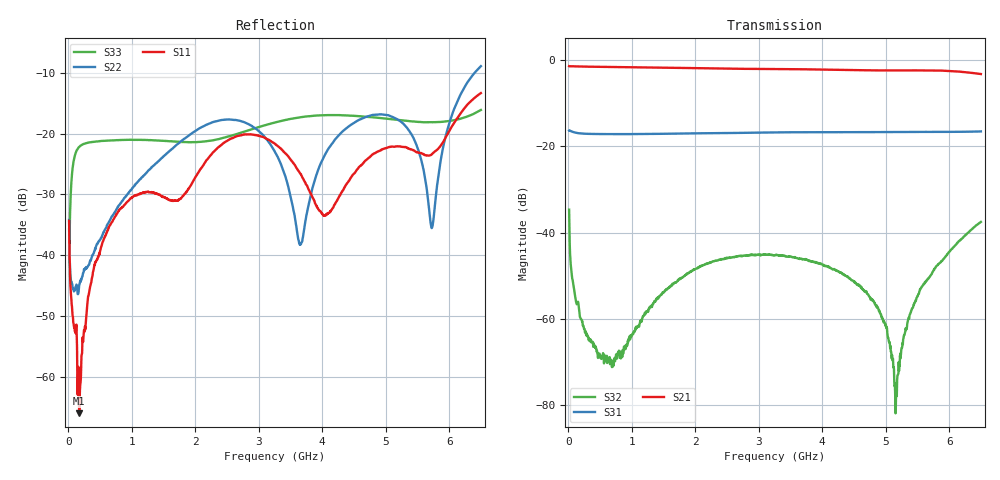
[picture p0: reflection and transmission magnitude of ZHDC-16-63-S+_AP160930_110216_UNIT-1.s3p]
!Mini-Circuits Laboratory
!S-Parameters
!MODEL: ZHDC-16-63-S+
!Run/Lot/Date Code:CE5190//1643
!DATA FOR:UNIT#1
!Fixture/SN/Due: N/A
!Connection:PORT-1 - pin<1>; PORT-2 - pin<2>; PORT-3- pin<3>
!Created: 11-02-2016 at 3:26 PM
# MHZ S DB R 50
!Frequency  S11 dB  S11 DEG  S12 dB  S12 DEG  S13 dB  S13 DEG
!  S21 dB  S21 DEG  S22 dB  S22 DEG  S23 dB  S23 DEG
!  S31 dB  S31 DEG  S32 dB  S32 DEG  S33 dB  S33 DEG
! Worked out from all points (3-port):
!   1299 points, 10 MHz to 6.5 GHz, reference 50 ohm
!   strongest paths, dB at 10 MHz, 1.63 GHz, 3.255 GHz, 4.88 GHz, 6.5 GHz:
!     S21: -1.4, -1.8, -2.1, -2.4, -3.3
!     S31: -16.4, -17.1, -16.8, -16.7, -16.6
!     S32: -34.7, -52.2, -45.3, -57.5, -37.5
!   lowest |S11| = -66.0 dB at 170 MHz (marker M1), VSWR 1.00, Z = 50 - j0.00945 ohm
!   |S11| at or under -10 dB: start of sweep to end of sweep
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10  -34.35 96.9  -1.44 -2.9  -16.36 5.3
    -1.44 -2.9  -34.21 98.1  -34.71 -85.3
    -16.36 5.3  -34.69 -86.2  -35.76 140.8
170  -66.02 -10.9  -1.52 -27.2  -17.00 -19.2
     -1.52 -27.2  -44.84 9.2  -58.23 -84.7
     -17.00 -19.2  -57.99 -92.4  -22.16 177.8
1065  -30.15 66.5  -1.69 -167.3  -17.18 -108.2
      -1.70 -167.3  -28.23 170.8  -61.35 120.1
      -17.18 -108.2  -62.27 77.3  -21.02 35.6
1720  -31.05 -97.6  -1.83 90.2  -17.07 -174.7
      -1.83 90.2  -21.72 100.1  -50.94 -52.7
      -17.07 -174.7  -51.10 -52.9  -21.33 -54.7
2370  -22.18 99.1  -1.99 -11.2  -16.95 118.6
      -1.99 -11.1  -17.87 25.7  -48.10 -176.7
      -16.95 118.6  -46.32 -171.9  -20.91 -148.8
3255  -21.68 -39.8  -2.10 -149.1  -16.80 26.5
      -2.11 -149.1  -23.05 -100.4  -45.35 29.2
      -16.79 26.4  -45.26 24.7  -18.18 98.5
4055  -33.39 -92.4  -2.23 85.3  -16.76 -58.0
      -2.24 85.3  -23.23 -14.3  -45.22 -123.7
      -16.74 -58.1  -47.69 -124.3  -16.98 9.8
5165  -22.09 138.9  -2.43 -89.1  -16.68 -176.8
      -2.44 -89.1  -17.57 -179.1  -61.21 17.8
      -16.70 -177.0  -74.95 -82.3  -17.73 -124.4
5730  -23.35 -12.1  -2.41 -179.8  -16.70 121.2
      -2.42 -179.8  -35.48 -179.1  -46.54 112.0
      -16.67 121.1  -49.41 122.6  -18.13 153.0
6500  -13.34 151.6  -3.26 54.0  -16.56 34.5
      -3.26 54.1  -8.92 153.5  -38.42 -20.3
      -16.56 34.5  -37.54 -20.0  -16.12 22.9
